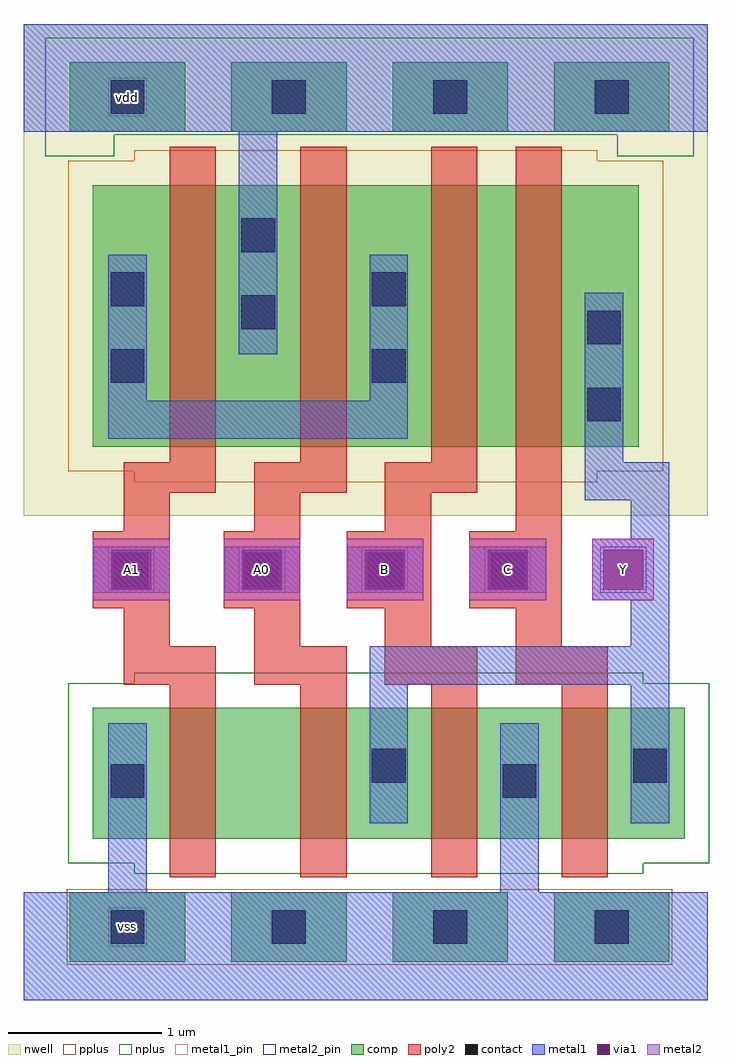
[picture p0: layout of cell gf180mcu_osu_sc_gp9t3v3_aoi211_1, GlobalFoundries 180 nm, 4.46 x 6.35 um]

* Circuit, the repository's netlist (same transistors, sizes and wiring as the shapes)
* NGSPICE file created from gf180mcu_osu_sc_gp9t3v3_aoi211_1.ext - technology: gf180mcuD

.subckt gf180mcu_osu_sc_gp9t3v3_aoi211_1 vdd A0 A1 B C Y vss
X0 a_70_30# A1 vss vss nfet_03v3 ad=0.23375p pd=1.4u as=0.425p ps=2.7u w=0.85u l=0.3u
X1 vdd A1 a_n90_540# vdd pfet_03v3 ad=0.4675p pd=2.25u as=0.85p ps=4.4u w=1.7u l=0.3u
X2 Y C a_410_540# vdd pfet_03v3 ad=0.85p pd=4.4u as=0.2125p ps=1.95u w=1.7u l=0.3u
X3 Y C vss vss nfet_03v3 ad=0.425p pd=2.7u as=0.23375p ps=1.4u w=0.85u l=0.3u
X4 a_n90_540# A0 vdd vdd pfet_03v3 ad=0.4675p pd=2.25u as=0.4675p ps=2.25u w=1.7u l=0.3u
X5 vss B Y vss nfet_03v3 ad=0.23375p pd=1.4u as=0.23375p ps=1.4u w=0.85u l=0.3u
X6 Y A0 a_70_30# vss nfet_03v3 ad=0.23375p pd=1.4u as=0.23375p ps=1.4u w=0.85u l=0.3u
X7 a_410_540# B a_n90_540# vdd pfet_03v3 ad=0.2125p pd=1.95u as=0.4675p ps=2.25u w=1.7u l=0.3u
.ends

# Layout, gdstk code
import gdstk
lib = gdstk.Library(unit=1e-6, precision=1e-09)
def R(c, l, rs):  # rectangles x0, y0, x1, y1
    for r in rs: c.add(gdstk.rectangle(r[:2], r[2:], *l))
def A(c, l, x, y, w, h, nx, ny, dx, dy):  # array of equal rectangles
    R(c, l, [(x+i*dx, y+j*dy, x+i*dx+w, y+j*dy+h) for i in range(nx) for j in range(ny)])
nwell = (21, 0)
comp = (22, 0)
poly2 = (30, 0)
pplus = (31, 0)
nplus = (32, 0)
contact = (33, 0)
metal1 = (34, 0)
metal1_pin = (34, 10)
via1 = (35, 0)
metal2 = (36, 0)
metal2_pin = (36, 10)

gf180mcu_osu_sc_gp9t3v3_ = lib.new_cell('gf180mcu_osu_sc_gp9t3v3_aoi211_1')
R(gf180mcu_osu_sc_gp9t3v3_, nwell, [(-0.9,2.25,3.55,5.45)])
A(gf180mcu_osu_sc_gp9t3v3_, comp, -0.6, -0.65, 0.75, 0.45, 4, 2, 1.05, 5.4)
R(gf180mcu_osu_sc_gp9t3v3_, comp, [(-0.45,0.15,3.4,1), (-0.45,2.7,3.1,4.4)])
A(gf180mcu_osu_sc_gp9t3v3_, poly2, 0.05, -0.1, 0.3, 1.25, 4, 1, 0.85, 0)
A(gf180mcu_osu_sc_gp9t3v3_, poly2, -0.25, 1.15, 0.6, 0.25, 4, 1, 0.85, 0)
A(gf180mcu_osu_sc_gp9t3v3_, poly2, -0.25, 1.4, 0.3, 0.25, 4, 1, 0.85, 0)
A(gf180mcu_osu_sc_gp9t3v3_, poly2, -0.25, 2.15, 0.3, 0.25, 3, 1, 0.85, 0)
A(gf180mcu_osu_sc_gp9t3v3_, poly2, -0.25, 2.4, 0.6, 0.2, 3, 1, 0.85, 0)
A(gf180mcu_osu_sc_gp9t3v3_, poly2, 0.05, 2.6, 0.3, 2.05, 3, 1, 0.85, 0)
R(gf180mcu_osu_sc_gp9t3v3_, poly2, [(-0.45,1.65,0.05,2.15), (0.4,1.65,0.9,2.15), (1.2,1.65,1.75,2.15), (2,1.65,2.6,2.15), (2.3,2.15,2.6,4.65)])
R(gf180mcu_osu_sc_gp9t3v3_, pplus, [(-0.62,-0.67,3.32,-0.18), (-0.18,2.47,2.83,2.54), (-0.61,2.54,3.26,4.56), (-0.18,4.56,2.83,4.63)])
R(gf180mcu_osu_sc_gp9t3v3_, nplus, [(-0.18,-0.08,3.13,-0.01), (-0.61,-0.01,3.56,1.16), (-0.18,1.16,3.13,1.23), (-0.76,4.59,-0.31,4.73), (2.96,4.59,3.46,4.73), (-0.76,4.73,3.46,5.36)])
A(gf180mcu_osu_sc_gp9t3v3_, contact, -0.335, -0.535, 0.22, 0.22, 4, 2, 1.05, 5.4)
A(gf180mcu_osu_sc_gp9t3v3_, contact, 0.54, 1.79, 0.22, 0.22, 3, 1, 0.8, 0)
R(gf180mcu_osu_sc_gp9t3v3_, contact, [(-0.335,0.415,-0.115,0.635), (2.215,0.415,2.435,0.635), (1.365,0.515,1.585,0.735), (3.065,0.515,3.285,0.735), (-0.31,1.79,-0.09,2.01), (2.765,2.865,2.985,3.085), (-0.335,3.115,-0.115,3.335), (1.365,3.115,1.585,3.335), (2.765,3.365,2.985,3.585), (0.515,3.465,0.735,3.685), (-0.335,3.615,-0.115,3.835), (1.365,3.615,1.585,3.835), (0.515,3.965,0.735,4.185)])
A(gf180mcu_osu_sc_gp9t3v3_, metal1, 0.4, 1.75, 0.5, 0.3, 3, 1, 0.8, 0)
R(gf180mcu_osu_sc_gp9t3v3_, metal1, [(-0.9,-0.9,3.55,-0.2), (-0.35,-0.2,-0.1,0.9), (2.2,-0.2,2.45,0.9), (1.35,0.25,1.6,1.15), (3.05,0.25,3.3,1.15), (1.35,1.15,3.3,1.4), (3.05,1.4,3.3,1.7), (2.8,1.7,3.3,2.1), (-0.45,1.75,0.05,2.05), (3.05,2.1,3.3,2.35), (2.75,2.35,3.3,2.6), (2.75,2.6,3,3.7), (-0.35,2.75,1.6,3), (-0.35,3,-0.1,3.95), (1.35,3,1.6,3.95), (0.5,3.3,0.75,4.75), (-0.9,4.75,3.55,5.45)])
R(gf180mcu_osu_sc_gp9t3v3_, metal1_pin, [(-0.35,-0.55,-0.1,-0.3), (-0.35,4.85,-0.1,5.1)])
A(gf180mcu_osu_sc_gp9t3v3_, via1, 0.52, 1.77, 0.26, 0.26, 3, 1, 0.8, 0)
R(gf180mcu_osu_sc_gp9t3v3_, via1, [(-0.33,1.77,-0.07,2.03), (2.87,1.77,3.13,2.03)])
A(gf180mcu_osu_sc_gp9t3v3_, metal2, 0.4, 1.7, 0.5, 0.4, 3, 1, 0.8, 0)
R(gf180mcu_osu_sc_gp9t3v3_, metal2, [(-0.45,1.7,0.05,2.1), (2.8,1.7,3.2,2.1)])
A(gf180mcu_osu_sc_gp9t3v3_, metal2_pin, 0.5, 1.75, 0.3, 0.3, 3, 1, 0.8, 0)
R(gf180mcu_osu_sc_gp9t3v3_, metal2_pin, [(-0.35,1.75,-0.05,2.05), (2.85,1.75,3.15,2.05)])
gf180mcu_osu_sc_gp9t3v3_.add(gdstk.Label('vdd', (-0.225,4.975), layer=22, texttype=0))
gf180mcu_osu_sc_gp9t3v3_.add(gdstk.Label('A0', (0.65,1.9), layer=36, texttype=10))
gf180mcu_osu_sc_gp9t3v3_.add(gdstk.Label('A1', (-0.2,1.9), layer=36, texttype=10))
gf180mcu_osu_sc_gp9t3v3_.add(gdstk.Label('B', (1.45,1.9), layer=36, texttype=10))
gf180mcu_osu_sc_gp9t3v3_.add(gdstk.Label('C', (2.25,1.9), layer=36, texttype=10))
gf180mcu_osu_sc_gp9t3v3_.add(gdstk.Label('Y', (3,1.9), layer=34, texttype=10))
gf180mcu_osu_sc_gp9t3v3_.add(gdstk.Label('vss', (-0.225,-0.425), layer=22, texttype=0))

lib.write_gds('gf180mcu_osu_sc_gp9t3v3_aoi211_1.gds')
